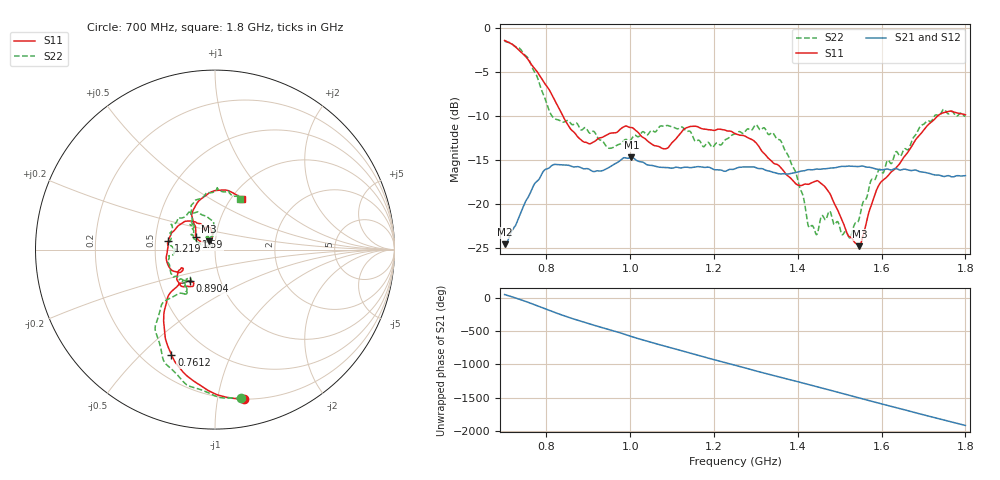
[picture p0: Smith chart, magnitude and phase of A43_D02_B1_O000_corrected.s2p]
! Created with skrf 1.9.0 (http://scikit-rf.org).
# Hz S RI R 50.0
!freq ReS11 ImS11 ReS21 ImS21 ReS12 ImS12 ReS22 ImS22
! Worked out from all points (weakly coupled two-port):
!   1601 points, 700 MHz to 1.8 GHz, reference 50 ohm
!   highest |S21| = -14.70 dB at 1.002 GHz (marker M1); lowest = -24.6 dB at 700.7 MHz (marker M2)
!   lowest |S11| = -24.8 dB at 1.547 GHz (marker M3), VSWR 1.12, Z = 46.4 + j4.27 ohm
!   |S11| at or under -10 dB: 839.3 MHz to 1.734 GHz (894.4 MHz wide, 69.5 % of centre)
!   |S22| runs from -23.9 to -1.5 dB; largest |S21 - S12| = 0.0034
!   S11 on the Smith chart (normalised r, x): 700 MHz: 0.20, -1.19; 761.2 MHz: 0.32, -0.62; 890.4 MHz: 0.72, -0.27; 1.219 GHz: 0.58, +0.06; 1.59 GHz: 0.81, +0.11; 1.8 GHz: 1.12, +0.71
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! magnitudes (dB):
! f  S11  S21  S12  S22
! 700 MHz  -1.4  -24.6  -24.4  -1.5
! 700.7 MHz  -1.4  -24.6  -24.3  -1.5
! 761.2 MHz  -3.9  -18.8  -18.7  -3.9
! 814.1 MHz  -7.7  -15.6  -15.6  -10.1
! 883.6 MHz  -12.8  -15.9  -15.8  -11.6
! 890.4 MHz  -13.0  -16.0  -16.0  -11.3
! 949.6 MHz  -12.0  -15.8  -15.8  -13.7
! 1.002 GHz  -11.3  -14.7  -14.8  -12.6
! 1.067 GHz  -13.4  -15.8  -15.7  -11.4
! 1.141 GHz  -11.2  -15.8  -15.8  -11.7
! 1.219 GHz  -11.5  -16.2  -16.2  -13.2
! 1.25 GHz  -12.0  -16.0  -15.9  -12.0
! 1.3 GHz  -13.0  -15.9  -15.9  -11.0
! 1.359 GHz  -15.8  -16.6  -16.5  -12.8
! 1.434 GHz  -17.6  -16.1  -16.1  -22.5
! 1.476 GHz  -18.8  -15.9  -15.9  -20.8
! 1.524 GHz  -23.7  -15.7  -15.7  -23.8
! 1.547 GHz  -24.8  -15.7  -15.7  -21.6
! 1.59 GHz  -18.1  -16.1  -16.0  -16.4
! 1.617 GHz  -16.7  -16.1  -16.0  -15.1
! 1.736 GHz  -9.9  -16.7  -16.8  -10.0
! 1.8 GHz  -9.9  -16.8  -16.8  -10.0
